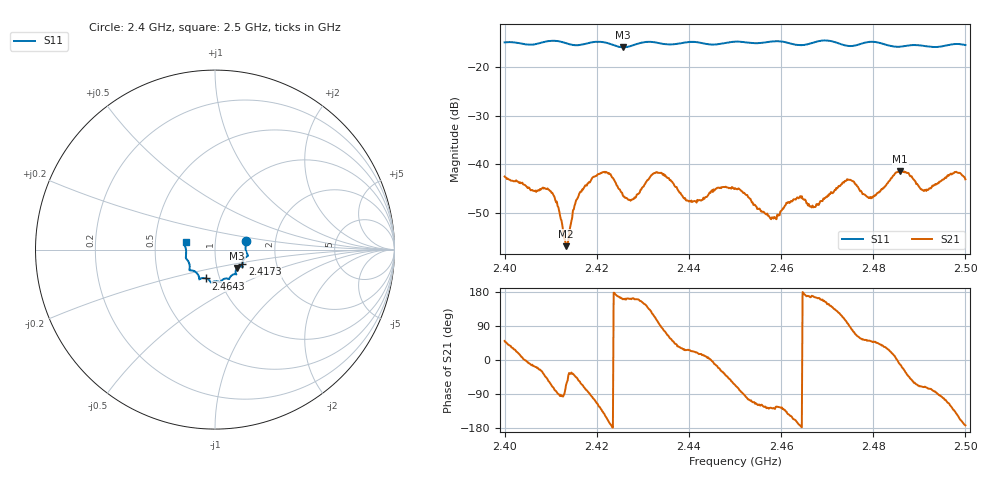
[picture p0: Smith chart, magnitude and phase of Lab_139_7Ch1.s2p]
# Hz S RI R 50
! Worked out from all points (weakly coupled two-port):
!   601 points, 2.4 GHz to 2.5 GHz, reference 50 ohm
!   highest |S21| = -41.43 dB at 2.4858 GHz (marker M1); lowest = -56.9 dB at 2.4133 GHz (marker M2)
!   lowest |S11| = -15.9 dB at 2.4257 GHz (marker M3), VSWR 1.38, Z = 62.5 - j13.1 ohm
!   |S11| at or under -10 dB: start of sweep to end of sweep
!   S12 and S22 are empty: the file has one direction only
!   S11 on the Smith chart (normalised r, x): 2.4 GHz: 1.41, +0.14; 2.4173 GHz: 1.34, -0.23; 2.4643 GHz: 0.86, -0.28; 2.5 GHz: 0.72, +0.06
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2.4e9  0.1733 0.0492  0.00476 0.00572  0 0  0 0
2.409833e9  0.1834 -0.032  0.00263 -0.00459  0 0  0 0
2.411333e9  0.1825 -0.0353  0.000331 -0.0041  0 0  0 0
2.413333e9  0.1711 -0.0426  0.000585 -0.0013  0 0  0 0
2.416667e9  0.1529 -0.0746  0.00232 -0.00464  0 0  0 0
2.417333e9  0.1522 -0.0818  0.00169 -0.00564  0 0  0 0
2.421833e9  0.1522 -0.0948  -0.00689 -0.00436  0 0  0 0
2.425667e9  0.1227 -0.1025  -0.00445 0.00159  0 0  0 0
2.427833e9  0.1147 -0.1221  -0.00415 0.00128  0 0  0 0
2.433333e9  0.113 -0.1367  -0.00127 0.00807  0 0  0 0
2.439833e9  0.0797 -0.1627  0.00373 0.00191  0 0  0 0
2.45e9  0.0294 -0.1806  0.00233 -0.00516  0 0  0 0
2.458e9  -0.0184 -0.1828  -0.00171 -0.00225  0 0  0 0
2.464333e9  -0.05 -0.1608  -0.00449 -0.000358  0 0  0 0
2.466667e9  -0.0761 -0.1597  -0.00351 0.000645  0 0  0 0
2.474333e9  -0.1 -0.1323  -0.000936 0.00693  0 0  0 0
2.479333e9  -0.1417 -0.1147  0.00292 0.00353  0 0  0 0
2.483333e9  -0.1408 -0.0902  0.00587 0.00305  0 0  0 0
2.485833e9  -0.149 -0.0645  0.0083 -0.00175  0 0  0 0
2.491e9  -0.1618 -0.0344  0.00166 -0.00501  0 0  0 0
2.497667e9  -0.1704 0.0297  -0.00586 -0.00587  0 0  0 0
2.5e9  -0.1636 0.0417  -0.0069 -0.000918  0 0  0 0
